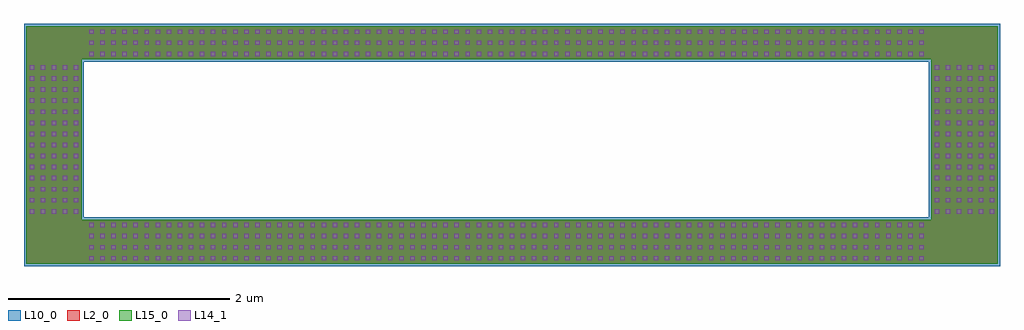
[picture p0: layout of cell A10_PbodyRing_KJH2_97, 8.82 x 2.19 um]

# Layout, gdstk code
import gdstk
lib = gdstk.Library(unit=1e-6, precision=1e-09)
def R(c, l, rs):  # rectangles x0, y0, x1, y1
    for r in rs: c.add(gdstk.rectangle(r[:2], r[2:], *l))
def A(c, l, x, y, w, h, nx, ny, dx, dy):  # array of equal rectangles
    R(c, l, [(x+i*dx, y+j*dy, x+i*dx+w, y+j*dy+h) for i in range(nx) for j in range(ny)])
L2_0 = (2, 0)
L10_0 = (10, 0)
L14_1 = (14, 1)
L15_0 = (15, 0)

a10_pbodyring_kjh2_97_sr = lib.new_cell('A10_PbodyRing_KJH2_97:SRF_PbodyTop:SRF_PbodyContactPhyLen')
R(a10_pbodyring_kjh2_97_sr, L2_0, [(-0.068,-0.23,7.608,0.07)])
R(a10_pbodyring_kjh2_97_sr, L10_0, [(-0.089,-0.251,7.629,0.091)])
A(a10_pbodyring_kjh2_97_sr, L14_1, 0, -0.2, 0.04, 0.04, 76, 3, 0.1, 0.1)
R(a10_pbodyring_kjh2_97_sr, L15_0, [(-0.068,-0.23,7.608,0.07)])

c_a10_pbodyring_kjh2_97_sr = lib.new_cell('A10_PbodyRing_KJH2_97:SRF_PbodyTop')
c_a10_pbodyring_kjh2_97_sr.add(gdstk.Reference(a10_pbodyring_kjh2_97_sr, (0,0)))

c_a10_pbodyring_kjh2_97_sr_ = lib.new_cell('A10_PbodyRing_KJH2_97:SRF_PbodyBottom:SRF_PbodyContactPhyLen')
R(c_a10_pbodyring_kjh2_97_sr_, L2_0, [(-0.068,-0.33,7.608,0.07)])
R(c_a10_pbodyring_kjh2_97_sr_, L10_0, [(-0.089,-0.351,7.629,0.091)])
A(c_a10_pbodyring_kjh2_97_sr_, L14_1, 0, -0.3, 0.04, 0.04, 76, 4, 0.1, 0.1)
R(c_a10_pbodyring_kjh2_97_sr_, L15_0, [(-0.068,-0.33,7.608,0.07)])

c_a10_pbodyring_kjh2_97_sr__ = lib.new_cell('A10_PbodyRing_KJH2_97:SRF_PbodyBottom')
c_a10_pbodyring_kjh2_97_sr__.add(gdstk.Reference(c_a10_pbodyring_kjh2_97_sr_, (0,0)))

c_a10_pbodyring_kjh2_97_sr___ = lib.new_cell('A10_PbodyRing_KJH2_97:SRF_PbodyLeft:SRF_PbodyContactPhyLen')
R(c_a10_pbodyring_kjh2_97_sr___, L2_0, [(-0.03,-1.354,0.47,0.093)])
R(c_a10_pbodyring_kjh2_97_sr___, L10_0, [(-0.051,-1.374,0.491,0.115)])
A(c_a10_pbodyring_kjh2_97_sr___, L14_1, 0, -1.3, 0.04, 0.04, 5, 14, 0.1, 0.1)
R(c_a10_pbodyring_kjh2_97_sr___, L15_0, [(-0.03,-1.354,0.47,0.093)])

c_a10_pbodyring_kjh2_97_sr____ = lib.new_cell('A10_PbodyRing_KJH2_97:SRF_PbodyLeft')
c_a10_pbodyring_kjh2_97_sr____.add(gdstk.Reference(c_a10_pbodyring_kjh2_97_sr___, (0,0)))

c_a10_pbodyring_kjh2_97_sr_____ = lib.new_cell('A10_PbodyRing_KJH2_97:SRF_PbodyRight:SRF_PbodyContactPhyLen')
R(c_a10_pbodyring_kjh2_97_sr_____, L2_0, [(-0.03,-1.354,0.57,0.093)])
R(c_a10_pbodyring_kjh2_97_sr_____, L10_0, [(-0.051,-1.374,0.591,0.115)])
A(c_a10_pbodyring_kjh2_97_sr_____, L14_1, 0, -1.3, 0.04, 0.04, 6, 14, 0.1, 0.1)
R(c_a10_pbodyring_kjh2_97_sr_____, L15_0, [(-0.03,-1.354,0.57,0.093)])

c_a10_pbodyring_kjh2_97_sr______ = lib.new_cell('A10_PbodyRing_KJH2_97:SRF_PbodyRight')
c_a10_pbodyring_kjh2_97_sr______.add(gdstk.Reference(c_a10_pbodyring_kjh2_97_sr_____, (0,0)))

a10_pbodyring_kjh2_97 = lib.new_cell('A10_PbodyRing_KJH2_97')
R(a10_pbodyring_kjh2_97, L2_0, [(-0.568,-2.077,8.208,-1.677), (-0.568,-2.077,-0.068,0.07), (7.608,-2.077,8.208,0.07), (-0.568,-0.23,8.208,0.07)])
R(a10_pbodyring_kjh2_97, L10_0, [(-0.589,-2.098,8.229,-1.656), (-0.589,-2.098,-0.047,0.091), (7.587,-2.098,8.229,0.091), (-0.589,-0.251,8.229,0.091)])
R(a10_pbodyring_kjh2_97, L15_0, [(-0.568,-2.077,8.208,-1.677), (-0.568,-2.077,-0.068,0.07), (7.608,-2.077,8.208,0.07), (-0.568,-0.23,8.208,0.07)])
a10_pbodyring_kjh2_97.add(gdstk.Reference(c_a10_pbodyring_kjh2_97_sr, (0,0)))
a10_pbodyring_kjh2_97.add(gdstk.Reference(c_a10_pbodyring_kjh2_97_sr__, (0,-1.747)))
a10_pbodyring_kjh2_97.add(gdstk.Reference(c_a10_pbodyring_kjh2_97_sr____, (-0.538,-0.323)))
a10_pbodyring_kjh2_97.add(gdstk.Reference(c_a10_pbodyring_kjh2_97_sr______, (7.638,-0.323)))

lib.write_gds('A10_PbodyRing_KJH2_97.gds')
